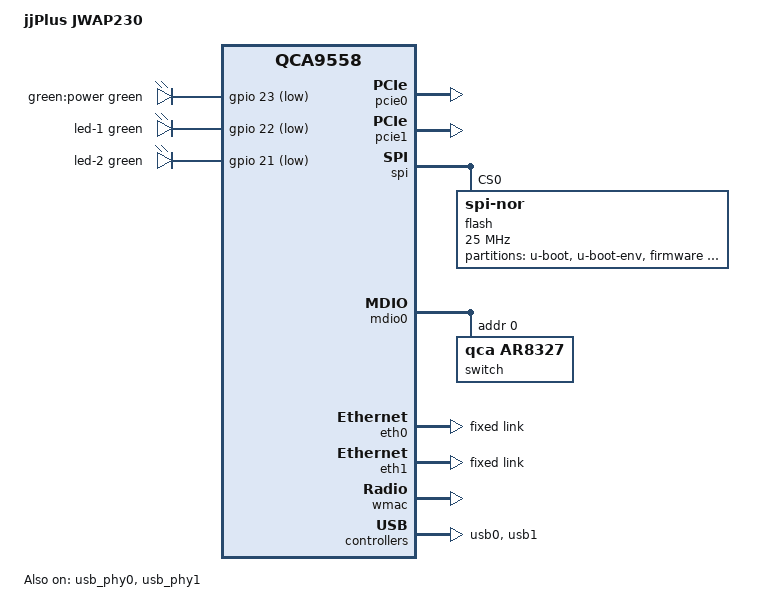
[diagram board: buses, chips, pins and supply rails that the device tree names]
// SPDX-License-Identifier: GPL-2.0-or-later OR MIT

#include "qca955x.dtsi"

#include <dt-bindings/gpio/gpio.h>
#include <dt-bindings/input/input.h>
#include <dt-bindings/leds/common.h>

/ {
	model = "jjPlus JWAP230";
	compatible = "jjplus,jwap230", "qca,qca9558";

	aliases {
		led-boot = &led_power;
		led-failsafe = &led_power;
		led-running = &led_power;
		led-upgrade = &led_power;
	};

	leds {
		compatible = "gpio-leds";

		led_power: led-0 {
			label = "green:power";
			color = <LED_COLOR_ID_GREEN>;
			function = LED_FUNCTION_POWER;
			gpios = <&gpio 23 GPIO_ACTIVE_LOW>;
		};

		led-1 {
			color = <LED_COLOR_ID_GREEN>;
			function-enumerator = <0>;
			gpios = <&gpio 22 GPIO_ACTIVE_LOW>;
		};

		led-2 {
			color = <LED_COLOR_ID_GREEN>;
			function-enumerator = <1>;
			gpios = <&gpio 21 GPIO_ACTIVE_LOW>;
		};
	};
};

&pcie0 {
	status = "okay";
};

&pcie1 {
	status = "okay";
};

&spi {
	status = "okay";

	flash@0 {
		compatible = "jedec,spi-nor";
		reg = <0>;
		spi-max-frequency = <25000000>;

		partitions {
			compatible = "fixed-partitions";
			#address-cells = <1>;
			#size-cells = <1>;

			partition@0 {
				label = "u-boot";
				reg = <0x000000 0x040000>;
				read-only;
			};

			partition@40000 {
				label = "u-boot-env";
				reg = <0x040000 0x010000>;
			};

			partition@50000 {
				compatible = "denx,uimage";
				label = "firmware";
				reg = <0x050000 0xfa0000>;
			};

			art: partition@ff0000 {
				label = "art";
				reg = <0xff0000 0x010000>;
				read-only;

				compatible = "nvmem-cells";
				#address-cells = <1>;
				#size-cells = <1>;

				macaddr_art_lan: macaddr@0 {
					reg = <0x0 0x6>;
				};

				macaddr_art_wan: macaddr@6 {
					reg = <0x6 0x6>;
				};

				calibration_art_wlan: calibration@1000 {
					reg = <0x1000 0x440>;
				};
			};
		};
	};
};

&mdio0 {
	status = "okay";

	switch {
		compatible = "qca,ar8327";
		reg = <0>;

		qca,ar8327-initvals = <
			0x04 0x07600000 /* PORT0 PAD MODE CTRL */
			0x58 0xffb7ffb7 /* LED_CTRL2 */
			0x5c 0x03ffff00 /* LED_CTRL3 */
			0x7c 0x0000007e /* PORT0_STATUS */
			0x0c 0x00080080 /* PORT6 PAD MODE CTRL */
			0x94 0x0000007e /* PORT6_STATUS */
		>;
	};
};

&eth0 {
	status = "okay";

	nvmem-cells = <&macaddr_art_wan>;
	nvmem-cell-names = "mac-address";

	pll-data = <0xae000000 0x80000101 0x80001313>;

	fixed-link {
		speed = <1000>;
		full-duplex;
	};

	gmac_config: gmac-config {
		device = <&gmac>;

		rxdv-delay = <3>;
		rxd-delay = <3>;
		txen-delay = <0>;
		txd-delay = <0>;
		rgmii-enabled = <1>;
	};
};

&eth1 {
	status = "okay";

	nvmem-cells = <&macaddr_art_lan>;
	nvmem-cell-names = "mac-address";

	pll-data = <0x03000101 0x00000101 0x00001313>;

	fixed-link {
		speed = <1000>;
		full-duplex;
	};
};

&wmac {
	status = "okay";
	nvmem-cells = <&calibration_art_wlan>;
	nvmem-cell-names = "calibration";
};

&usb_phy0 {
	status = "okay";
};

&usb0 {
	status = "okay";
};

&usb_phy1 {
	status = "okay";
};

&usb1 {
	status = "okay";
};
